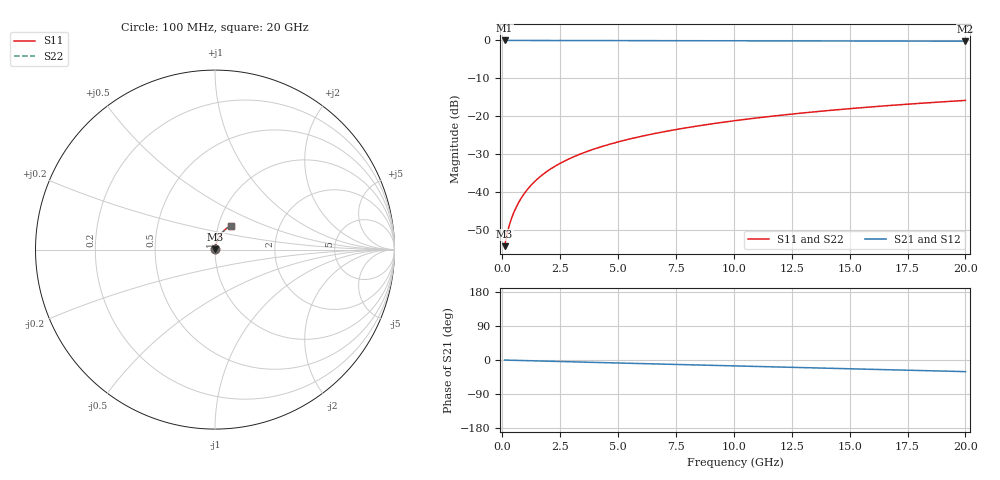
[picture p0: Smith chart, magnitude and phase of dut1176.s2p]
! Touchstone file exported from HFSS 2026.1.0
!  File:  C:/ffzhzh/LocalFiles/Ansys_Project_Files/temp_train_BSMRDL_1176_1783176054_43440.aedt
!  Generated:  10:42:10 PM Jul  4, 2026
!  Design:  BSMRDL
!  Project:  temp_train_BSMRDL_1176_1783176054_43440
! Variables:
!  h_bsmrdl = 5.64um
!  h_ox = 20um
!  h_rdl = 5um
!  h_sub = 80um
!  h_tmrdl = 5um
!  h_tsv = 80um
!  h_via = 3um
!  l_bsmrdl = 509.26um
!  l_sub = 909.26um
!  l_tmrdl = 200um
!  m_sub = 200um
!  pitch = 37.2um
!  r_tsv = 6um
!  s_tmrdl = 10um
!  w_bsmrdl = 24.13um
!  w_sub = 500um
!  w_tmrdl = 12um
!  x_tsv_center1 = 206um
!  x_tsv_center2 = 739.39um
!  x_tsv_center3 = 951.39um
!  x_tsv_center4 = 1484.78um
!  x_tsv_center5 = 1696.78um
!  x_tsv_center6 = 2230.17um
# GHz S MA R 50.000000
! Terminal data exported
! Port[1] = BSM_RDL1_1_T1
! Port[2] = BSM_RDL1_1_T2
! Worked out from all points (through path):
!   200 points, 100 MHz to 20 GHz, reference 50 ohm
!   highest |S21| = -0.01 dB at 100 MHz (marker M1); lowest = -0.2 dB at 20 GHz (marker M2)
!   group delay of S21, straight-line fit = 4.25 ps
!   lowest |S11| = -54.2 dB at 100 MHz (marker M3), VSWR 1.00, Z = 50.2 + j0.12 ohm
!   |S11| at or under -10 dB: start of sweep to end of sweep
!   |S22| runs from -54.2 to -15.8 dB; largest |S21 - S12| = 4.7e-15
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0.1  0.001948 37.8  0.9985 -0.2  0.9985 -0.2  0.001948 37.8
! Gamma 0 0 0 0
! Port Impedance 50 0 50 0
0.2  0.002805 52.2  0.9983 -0.3  0.9983 -0.3  0.002805 52.2
0.3  0.003666 59.7  0.9982 -0.5  0.9982 -0.5  0.003666 59.7
0.4  0.00454 64.7  0.9981 -0.7  0.9981 -0.7  0.00454 64.7
0.5  0.005434 68.2  0.998 -0.8  0.998 -0.8  0.005434 68.2
0.6  0.006346 70.7  0.998 -1.0  0.998 -1.0  0.006346 70.7
0.8  0.008204 74.0  0.9979 -1.3  0.9979 -1.3  0.008204 74.0
1.1  0.01103 76.6  0.9977 -1.8  0.9977 -1.8  0.01103 76.6
1.3  0.01292 77.5  0.9976 -2.1  0.9976 -2.1  0.01292 77.5
1.6  0.01574 78.2  0.9974 -2.6  0.9974 -2.6  0.01574 78.2
2.1  0.0204 78.6  0.9969 -3.4  0.9969 -3.4  0.0204 78.6
2.7  0.02588 78.3  0.9964 -4.3  0.9964 -4.3  0.02588 78.3
3.5  0.03302 77.6  0.9956 -5.6  0.9956 -5.6  0.03302 77.7
4.2  0.03914 76.9  0.9949 -6.7  0.9949 -6.7  0.03914 76.9
5  0.04602 76.0  0.9941 -7.9  0.9941 -7.9  0.04602 76.0
5.9  0.05364 74.9  0.9932 -9.3  0.9932 -9.3  0.05364 74.9
6.8  0.06117 73.8  0.9923 -10.7  0.9923 -10.7  0.06117 73.8
8.3  0.07354 71.9  0.9908 -13.0  0.9908 -13.0  0.07354 71.9
10.1  0.08811 69.6  0.9889 -15.7  0.9889 -15.7  0.08811 69.6
13.4  0.114 65.1  0.9852 -20.8  0.9852 -20.8  0.114 65.1
16.7  0.1387 60.5  0.9812 -25.8  0.9812 -25.8  0.1387 60.5
20  0.162 55.9  0.9769 -30.7  0.9769 -30.7  0.162 55.9
